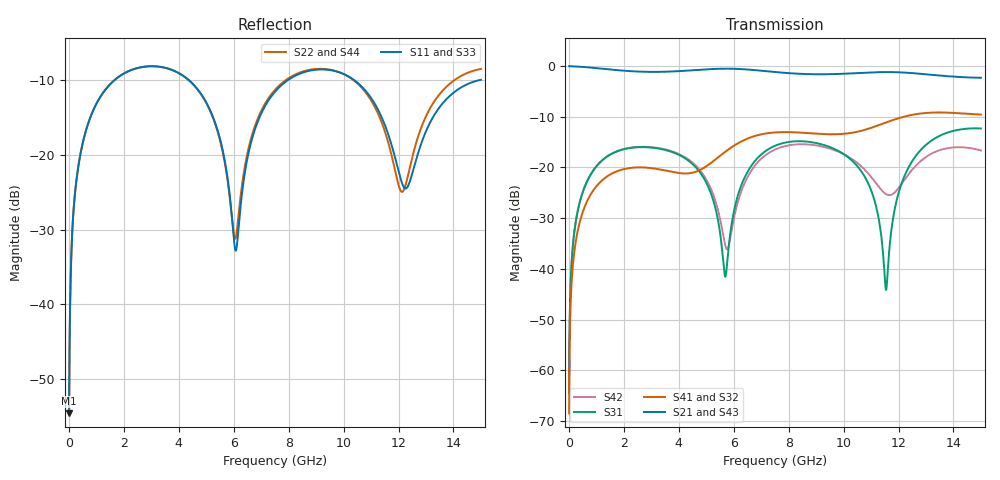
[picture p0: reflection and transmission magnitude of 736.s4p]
! Created with skrf 1.8.0 (http://scikit-rf.org).
# GHz S RI R 50.0
!freq ReS11 ImS11 ReS12 ImS12 ReS13 ImS13
! ReS14 ImS14
! ReS21 ImS21 ReS22 ImS22 ReS23 ImS23
! ReS24 ImS24
! ReS31 ImS31 ReS32 ImS32 ReS33 ImS33
! ReS34 ImS34
! ReS41 ImS41 ReS42 ImS42 ReS43 ImS43
! ReS44 ImS44
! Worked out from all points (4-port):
!   2499 points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, 5 MHz to 15 GHz, reference 50 ohm
!   strongest paths, dB at 5 MHz, 3.476 GHz, 7.19 GHz, 11.1 GHz, 15 GHz:
!     S21: 0.0, -1.1, -1.0, -1.2, -2.3
!     S43: 0.0, -1.1, -1.0, -1.2, -2.3
!     S41: -68.5, -20.6, -13.3, -12.0, -9.6
!     S32: -68.5, -20.6, -13.3, -12.0, -9.6
!     S31: -64.5, -16.5, -16.6, -26.0, -12.3
!     S42: -64.5, -16.4, -17.4, -22.5, -16.6
!   lowest |S11| = -54.6 dB at 5 MHz (marker M1), VSWR 1.00, Z = 50.1 + j0.113 ohm
!   |S11| at or under -10 dB: start of sweep to 1.653 GHz; 4.37 GHz to 7.968 GHz (3.598 GHz wide, 58.3 % of centre); 10.39 GHz to 14.93 GHz (4.543 GHz wide, 35.9 % of centre)
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0.005  0.00148 0.00112  0.9985 -0.00288  7.4e-05 0.000591  -7.18e-05 -0.000369
       0.9985 -0.00288  0.00148 0.00112  -7.18e-05 -0.000369  7.4e-05 0.000591
       7.4e-05 0.000591  -7.18e-05 -0.000369  0.00148 0.00112  0.9985 -0.00288
       -7.18e-05 -0.000369  7.4e-05 0.000591  0.9985 -0.00288  0.00148 0.00112
0.3626511  0.0253 0.0852  0.9652 -0.2071  0.0119 0.0405  -0.00992 -0.025
           0.9652 -0.2071  0.0253 0.0852  -0.00992 -0.025  0.012 0.0404
           0.0119 0.0405  -0.00992 -0.025  0.0253 0.0852  0.9652 -0.2071
           -0.00992 -0.025  0.012 0.0404  0.9652 -0.2071  0.0253 0.0852
1.619545  0.2518 0.1847  0.5884 -0.7061  0.1214 0.0683  -0.0878 -0.0124
          0.5884 -0.7061  0.2513 0.185  -0.0877 -0.0125  0.1231 0.0662
          0.1214 0.0683  -0.0877 -0.0125  0.2519 0.1847  0.5883 -0.7062
          -0.0878 -0.0124  0.1231 0.0662  0.5883 -0.7062  0.2513 0.185
5.908712  0.0249 -0.035  -0.9309 -0.1468  0.0118 0.0233  -0.0195 0.1562
          -0.9309 -0.1468  0.029 -0.03  -0.0216 0.156  -0.0135 0.0185
          0.0118 0.0233  -0.0216 0.156  0.0241 -0.037  -0.9307 -0.1471
          -0.0195 0.1562  -0.0135 0.0185  -0.9307 -0.1471  0.0305 -0.0317
9.460192  0.3688 -0.0372  0.0212 0.8316  0.1315 -0.0922  0.2014 -0.0689
          0.0212 0.8316  0.3702 -0.0461  0.2018 -0.0646  0.1272 -0.0884
          0.1315 -0.0922  0.2018 -0.0646  0.3684 -0.0372  0.0225 0.8319
          0.2014 -0.0689  0.1272 -0.0884  0.0225 0.8319  0.3684 -0.0473
11.54856  0.0989 -0.1135  0.7698 0.4135  -0.00613 0.000887  0.1222 -0.2499
          0.7698 0.4135  0.0889 -0.102  0.1283 -0.2468  -0.0518 -0.0173
          -0.00613 0.000887  0.1283 -0.2468  0.099 -0.1138  0.7708 0.4114
          0.1222 -0.2499  -0.0518 -0.0173  0.7708 0.4114  0.0887 -0.1025
15  0.3128 0.0582  0.2521 -0.7244  0.1927 -0.1475  -0.3305 -0.0379
    0.2521 -0.7244  0.3745 0.0342  -0.3264 -0.0479  0.1431 -0.0342
    0.1927 -0.1475  -0.3264 -0.0479  0.3128 0.0498  0.2485 -0.7272
    -0.3305 -0.0379  0.1431 -0.0342  0.2485 -0.7272  0.3682 0.0354
